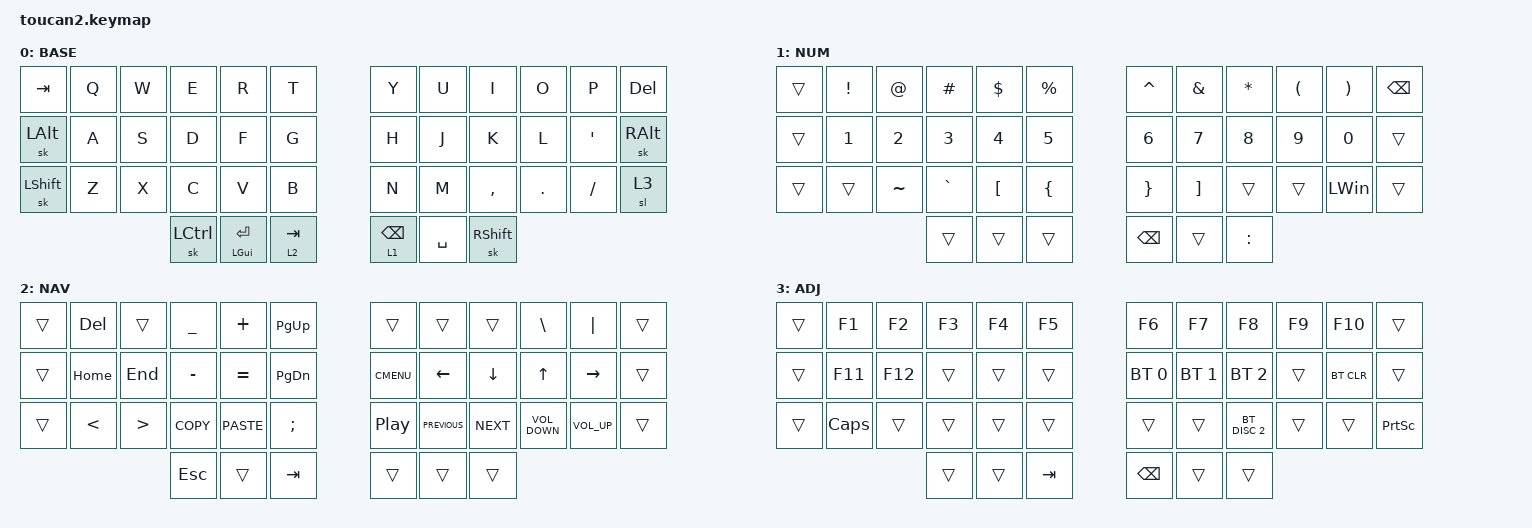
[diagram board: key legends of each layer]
#include <behaviors.dtsi>
#include <dt-bindings/zmk/keys.h>
#include <dt-bindings/zmk/bt.h>
#include <dt-bindings/zmk/outputs.h>

#define BASE 0
#define NUM  1
#define NAV  2
#define ADJ  3

/ {
    keymap {
        compatible = "zmk,keymap";

        base {
            display-name = "BASE";
            bindings = <
                &kp TAB    &kp Q  &kp W  &kp E      &kp R               &kp T        &kp Y            &kp U      &kp I            &kp O    &kp P             &kp DELETE
                &sk LALT   &kp A  &kp S  &kp D      &kp F               &kp G        &kp H            &kp J      &kp K            &kp L    &kp SINGLE_QUOTE  &sk RIGHT_ALT
                &sk LSHFT  &kp Z  &kp X  &kp C      &kp V               &kp B        &kp N            &kp M      &kp COMMA        &kp DOT  &kp FSLH          &sl 3
                                         &sk LCTRL  &mt LEFT_GUI ENTER  &lt 2 TAB    &lt 1 BACKSPACE  &kp SPACE  &sk RIGHT_SHIFT
            >;
        };

        num {
            display-name = "NUM";
            bindings = <
                &trans  &kp EXCLAMATION  &kp AT_SIGN   &kp POUND     &kp DOLLAR        &kp PERCENT       &kp CARET        &kp AMPERSAND      &kp ASTERISK  &kp LEFT_PARENTHESIS  &kp RIGHT_PARENTHESIS  &kp BSPC
                &trans  &kp NUMBER_1     &kp NUMBER_2  &kp NUMBER_3  &kp NUMBER_4      &kp NUMBER_5      &kp NUMBER_6     &kp NUMBER_7       &kp NUMBER_8  &kp NUMBER_9          &kp NUMBER_0           &trans
                &trans  &trans           &kp TILDE     &kp GRAVE     &kp LEFT_BRACKET  &kp LEFT_BRACE    &kp RIGHT_BRACE  &kp RIGHT_BRACKET  &trans        &trans                &kp LEFT_WIN           &trans
                                                       &trans        &trans            &trans            &kp BACKSPACE    &trans             &kp COLON
            >;
        };

        nav {
            display-name = "NAV";
            bindings = <
                &trans  &kp DELETE     &trans            &kp UNDERSCORE  &kp PLUS     &kp PAGE_UP      &trans            &trans          &trans          &kp BACKSLASH      &kp PIPE         &trans
                &trans  &kp HOME       &kp END           &kp MINUS       &kp EQUAL    &kp PAGE_DOWN    &kp K_CMENU       &kp LEFT_ARROW  &kp DOWN_ARROW  &kp UP_ARROW       &kp RIGHT_ARROW  &trans
                &trans  &kp LESS_THAN  &kp GREATER_THAN  &kp K_COPY      &kp K_PASTE  &kp SEMICOLON    &kp C_PLAY_PAUSE  &kp C_PREVIOUS  &kp C_NEXT      &kp C_VOLUME_DOWN  &kp C_VOLUME_UP  &trans
                                                         &kp ESCAPE      &trans       &kp TAB          &trans            &trans          &trans
            >;
        };

        adj {
            display-name = "ADJ";
            bindings = <
                &trans  &kp F1    &kp F2   &kp F3  &kp F4  &kp F5     &kp F6         &kp F7        &kp F8         &kp F9  &kp F10     &trans
                &trans  &kp F11   &kp F12  &trans  &trans  &trans     &bt BT_SEL 0   &bt BT_SEL 1  &bt BT_SEL 2   &trans  &bt BT_CLR  &trans
                &trans  &kp CAPS  &trans   &trans  &trans  &trans     &trans         &trans        &bt BT_DISC 2  &trans  &trans      &kp PRINTSCREEN
                                           &trans  &trans  &kp TAB    &kp BACKSPACE  &trans        &trans
            >;
        };
        extra_1 {
                status = "reserved";
        };

        extra_2 {
                status = "reserved";
        };

        extra_3 {
                status = "reserved";
        };
    };
};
